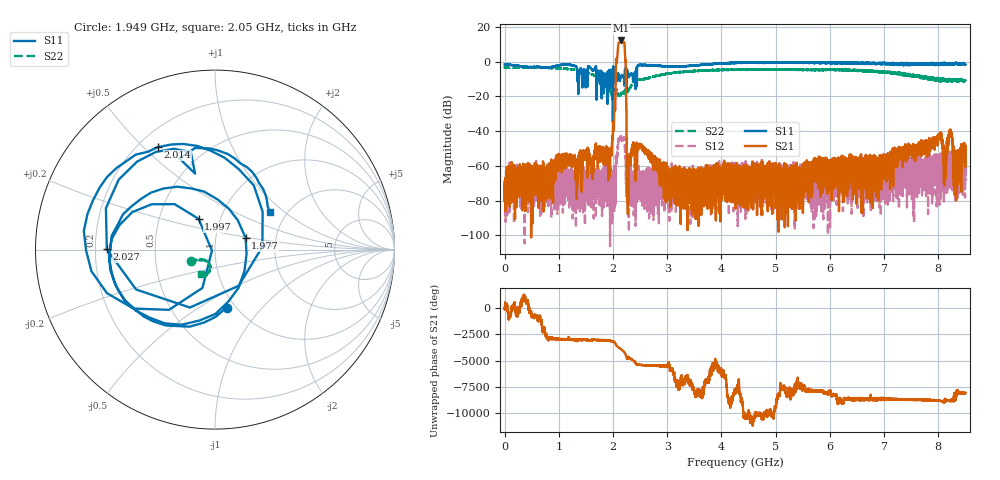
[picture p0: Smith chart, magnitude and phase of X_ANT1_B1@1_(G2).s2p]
#  HZ  S  RI  R  50.00
! Rohde & Schwarz Vector Network Analyzer
! Rohde-Schwarz,ZNBT8-20Port,1318700624101681,3.50
! Created: UTC 7/15/2025, 2:07:21 PM
! freq[Hz]  re:S1010  im:S1010  re:S0610  im:S0610  re:S1006  im:S1006  re:S66  im:S66
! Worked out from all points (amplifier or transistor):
!   8500 points, 1 MHz to 8.5 GHz, reference 50 ohm
!   highest |S21| = 12.2 dB at 2.144 GHz (marker M1)
!   |S21| within 3 dB of that: 2.095 GHz to 2.215 GHz (119.9 MHz wide, 5.57 % of centre)
!   unconditionally stable (mu >= 1): start of sweep to end of sweep
!   at 1.417 GHz: K = 818272.90, MAG = -58.4 dB, |S12| = -69.0 dB
!   at 4.251 GHz: K = 1014104.82, MAG = -67.6 dB, |S12| = -68.9 dB
!   at 8.5 GHz: K = 91855.58, MAG = -45.9 dB, |S12| = -64.5 dB
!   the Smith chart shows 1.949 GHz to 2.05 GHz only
!   S11 on the Smith chart (normalised r, x): 1.949 GHz: 0.91, -0.66; 1.977 GHz: 1.40, +0.19; 1.997 GHz: 0.79, +0.28; 2.014 GHz: 0.28, +0.55; 2.027 GHz: 0.25, +0.00; 2.05 GHz: 1.65, +0.79
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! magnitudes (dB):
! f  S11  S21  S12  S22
! 1 MHz  -1.7  -74.4  -69.5  -3.4
! 1.418 GHz  -5.1  -58.9  -69.6  -5.5
! 1.949 GHz  -9.6  -55.7  -66.9  -16.5
! 1.977 GHz  -14.8  -53.7  -74.8  -19.4
! 1.997 GHz  -14.2  -43.0  -68.0  -22.0
! 2.014 GHz  -3.7  -38.4  -64.8  -20.0
! 2.027 GHz  -4.4  -22.2  -60.0  -17.6
! 2.05 GHz  -8.6  -11.4  -60.2  -16.2
! 2.093 GHz  -7.2  8.5  -48.0  -19.1
! 2.144 GHz  -9.0  12.2  -43.3  -18.7
! 2.205 GHz  -10.7  11.0  -44.9  -17.5
! 2.293 GHz  -8.6  -55.3  -98.2  -16.0
! 2.497 GHz  -1.9  -48.2  -63.1  -10.2
! 2.834 GHz  -2.5  -63.1  -69.5  -8.0
! 4.251 GHz  -0.7  -77.9  -68.9  -4.8
! 5.667 GHz  -0.4  -78.2  -74.9  -4.8
! 7.084 GHz  -1.0  -56.0  -63.8  -6.4
! 8.019 GHz  -1.6  -42.8  -63.0  -11.1
! 8.13 GHz  -1.0  -66.2  -57.9  -11.0
! 8.227 GHz  -1.5  -41.5  -64.1  -10.9
! 8.32 GHz  -0.9  -67.0  -67.0  -10.9
! 8.5 GHz  -1.7  -51.1  -64.5  -10.9
